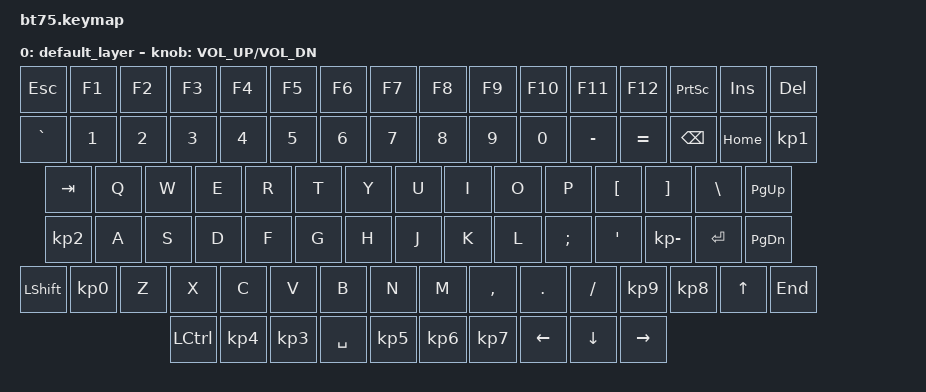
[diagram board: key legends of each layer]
#include <behaviors.dtsi>
#include <dt-bindings/zmk/keys.h>
#include <dt-bindings/zmk/bt.h>
#include <dt-bindings/zmk/rgb.h>
#include <dt-bindings/zmk/backlight.h>
#include <dt-bindings/zmk/ext_power.h>


/ {
	keymap {
		compatible = "zmk,keymap";
		default_layer {
				// ------------------------------------------------------------------------------------------------------------
				// | ESC | F1  | F2  | F3  | F4  | F5  | F6  | F7  | F9  | F9  | F10 | F11 | F12 | DEL | RGB tog | RGB HUI		|
				// |  `  |  1  |  2  |  3  |  4  |  5  |  6  |  7  |  8  |  9  |  0  |  -  |  =  |   BKSP   | BACKlight tog		|
				// | TAB  |  Q  |  W  |  E  |  R  |  T  |  Y  |  U  |  I  |  O  |  P  |  [  |  ]  |   |    | backlight up			|
				// | CAPS  |  A  |  S  |  D  |  F  |  G  |  H  |  J  |  K  |  L  |  ;  |  '  |     ENTER    | backlight down	|
				// |  SHIFT    |  Z  |  X  |  C  |  V  |  B  |  N  |  M  |  ,  |  .  | /   |      SHIFT     | bootloader			|
				// |  CTL  |  WIN  |  ALT  |            SPACE               | ALT | 1    |  MENU    |  CTRL    | reset				|
				// ------------------------------------------------------------------------------------------------------------
			bindings = <
				&kp ESC &kp F1 &kp F2 &kp F3 &kp F4 &kp F5 &kp F6 &kp F7 &kp  F8   &kp  F9 &kp  F10  &kp F11 &kp F12   &kp PSCRN &kp INS &kp DEL
				&kp GRAVE &kp N1 &kp N2 &kp N3 &kp N4 &kp N5 &kp N6 &kp N7 &kp  N8   &kp  N9   &kp N0 &kp MINUS &kp EQUAL &kp BKSP &kp HOME &kp KP_N1
				&kp TAB  &kp Q  &kp W  &kp E  &kp R  &kp T  &kp Y  &kp U  &kp  I    &kp  O  &kp  P   &kp LBKT &kp RBKT  	&kp BSLH &kp PG_UP
				&kp KP_N2  &kp A  &kp S  &kp D  &kp F  &kp G  &kp H  &kp J  &kp  K    &kp  L  &kp SEMI &kp SQT  &kp KP_MINUS	&kp RET &kp PG_DN
				&kp LSHFT &kp KP_N0 &kp Z  &kp X  &kp C  &kp V  &kp B  &kp N  &kp M  &kp COMMA &kp DOT &kp FSLH  &kp KP_N9    &kp KP_N8 &kp UP &kp END
				&kp LCTRL &kp KP_N4 &kp KP_N3            &kp SPACE                          &kp KP_N5  &kp KP_N6 &kp KP_N7 &kp LEFT &kp DOWN &kp RIGHT
			>;
			sensor-bindings = <&inc_dec_kp C_VOL_UP C_VOL_DN>;
		};
	};
};
